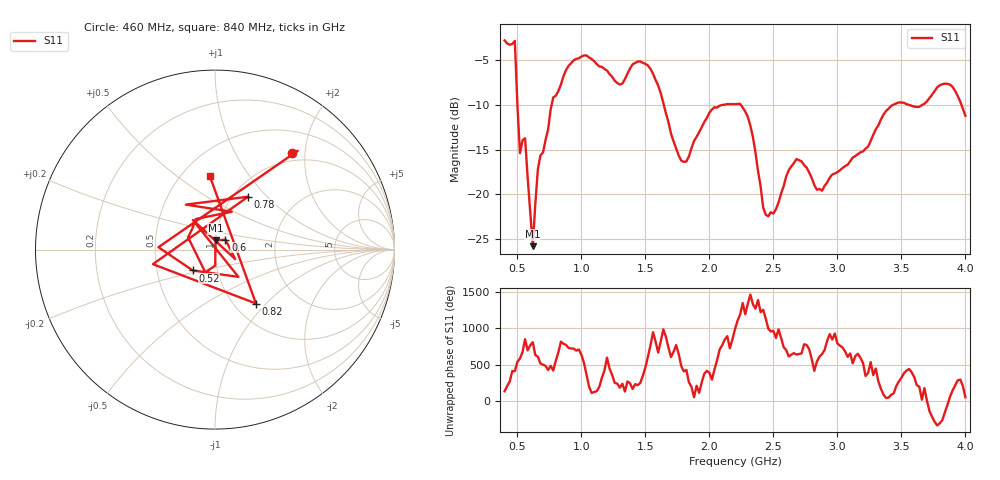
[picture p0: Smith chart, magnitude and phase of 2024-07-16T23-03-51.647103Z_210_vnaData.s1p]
!Created with skrf (http://scikit-rf.org).
# Hz S RI R 50.0
!freq ReS11 ImS11
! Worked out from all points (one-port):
!   181 points, 400 MHz to 4 GHz, reference 50 ohm
!   lowest |S11| = -25.8 dB at 620 MHz (marker M1), VSWR 1.11, Z = 50.1 + j5.15 ohm
!   |S11| at or under -10 dB: 499.9 MHz to 767.5 MHz (267.6 MHz wide, 42.2 % of centre); 1.644 GHz to 2.112 GHz (468.8 MHz wide, 25 % of centre); 2.245 GHz to 3.436 GHz (1.191 GHz wide, 41.9 % of centre) (the widest 3 of 5)
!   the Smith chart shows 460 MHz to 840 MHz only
!   S11 on the Smith chart (normalised r, x): 460 MHz: 0.85, +1.76; 520 MHz: 0.76, -0.18; 600 MHz: 1.12, +0.12; 780 MHz: 1.17, +0.78; 820 MHz: 1.25, -0.88; 840 MHz: 0.68, +0.67
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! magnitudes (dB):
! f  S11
! 400 MHz  -2.8
! 460 MHz  -3.2
! 480 MHz  -2.9
! 520 MHz  -15.4
! 560 MHz  -13.7
! 600 MHz  -21.9
! 620 MHz  -25.8
! 660 MHz  -17.2
! 780 MHz  -9.2
! 820 MHz  -8.5
! 840 MHz  -7.7
! 860 MHz  -6.8
! 1.04 GHz  -4.5
! 1.3 GHz  -7.7
! 1.52 GHz  -5.6
! 1.76 GHz  -15.7
! 1.82 GHz  -16.3
! 2.02 GHz  -10.5
! 2.2 GHz  -9.9
! 2.32 GHz  -12.3
! 2.44 GHz  -22.3
! 2.66 GHz  -16.5
! 2.88 GHz  -19.6
! 3.1 GHz  -16.3
! 3.42 GHz  -10.1
! 3.56 GHz  -10.0
! 3.86 GHz  -7.7
! 4 GHz  -11.2
